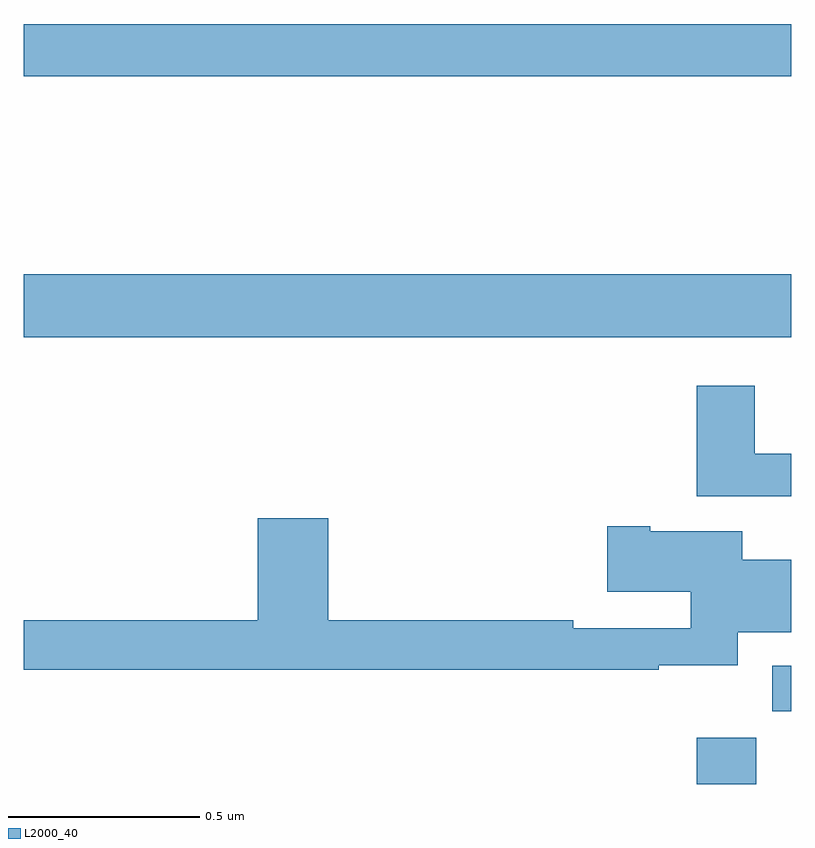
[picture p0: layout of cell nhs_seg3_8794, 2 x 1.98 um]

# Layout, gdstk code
import gdstk
lib = gdstk.Library(unit=1e-6, precision=1e-09)
def R(c, l, rs):  # rectangles x0, y0, x1, y1
    for r in rs: c.add(gdstk.rectangle(r[:2], r[2:], *l))
def P(c, l, *ps):  # polygons
    for p in ps: c.add(gdstk.Polygon(p, *l))
L2000_40 = (2000, 40)

nhs_seg3_8794 = lib.new_cell('nhs_seg3_8794')
R(nhs_seg3_8794, L2000_40, [(221.753,718.4,221.909,718.52), (221.95,718.59,222,718.708), (220,719.564,222,719.728), (220,720.244,222,720.38)])
P(nhs_seg3_8794, L2000_40, [(222,719.26),(221.905,719.26),(221.905,719.437),(221.753,719.437),(221.753,719.15),(222,719.15)],
  [(221.654,718.709),(221.86,718.709),(221.86,718.796),(222,718.796),(222,718.984),(221.872,718.984),(221.872,719.059),(221.632,719.059),(221.632,719.072),(221.52,719.072),(221.52,718.901),(221.738,718.901),(221.738,718.806),(221.432,718.806),(221.432,718.826),(220.793,718.826),(220.793,719.092),(220.61,719.092),(220.61,718.826),(220,718.826),(220,718.698),(221.654,718.698)])

lib.write_gds('nhs_seg3_8794.gds')
